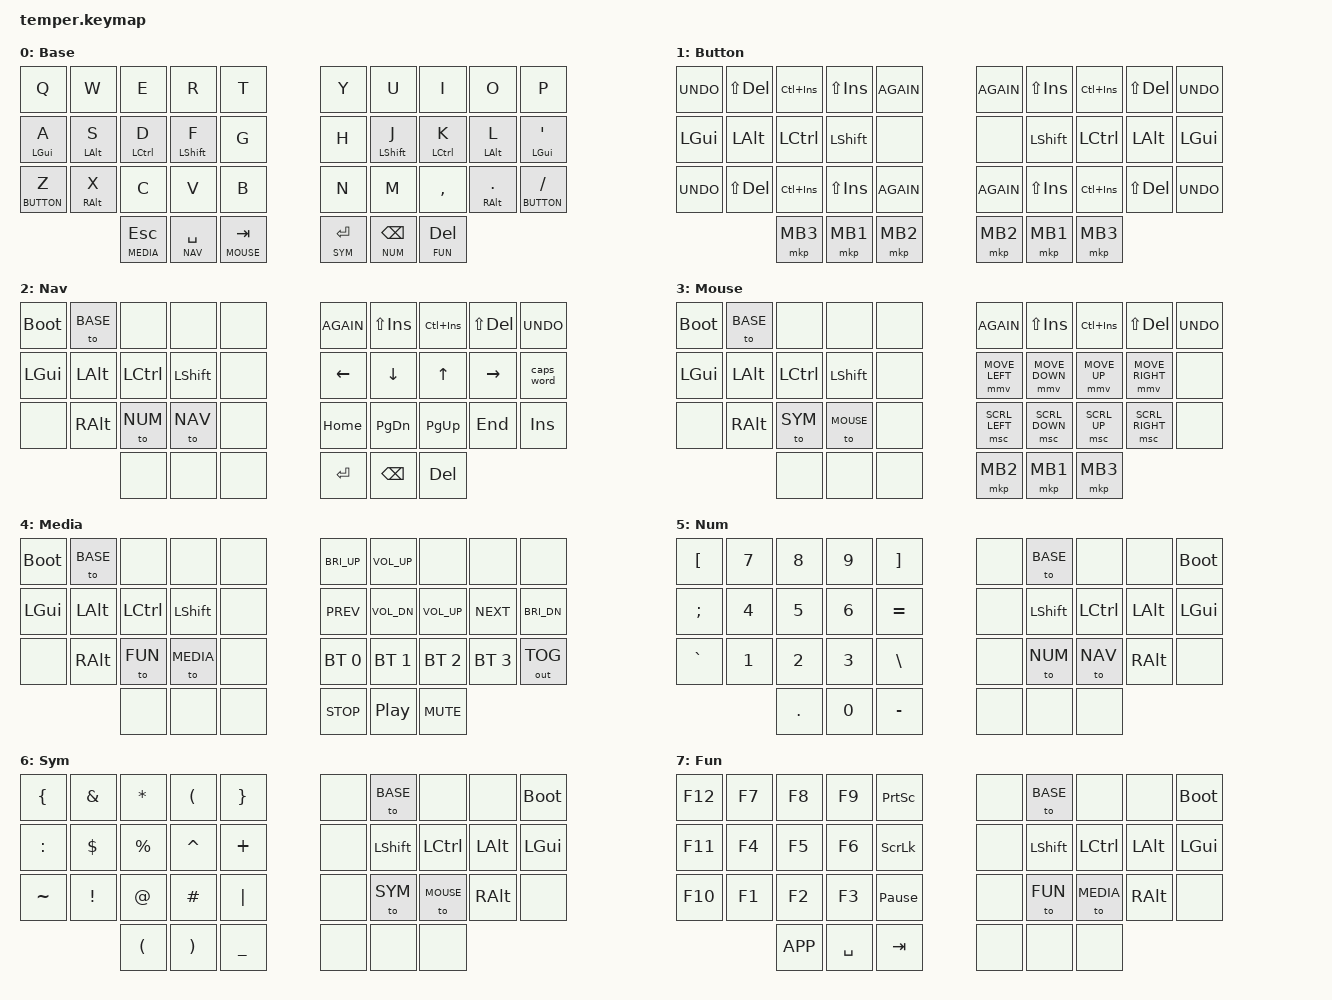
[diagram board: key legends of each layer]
/*
 * Copyright (c) 2020 The ZMK Contributors
 *
 * SPDX-License-Identifier: MIT
 */

#include <behaviors.dtsi>
#include <dt-bindings/zmk/keys.h>
#include <dt-bindings/zmk/bt.h>
#include <dt-bindings/zmk/outputs.h>
#include <dt-bindings/zmk/mouse.h>

// Miryoku layer definitions
#define BASE     0
#define BUTTON   1
#define NAV      2
#define MOUSE    3
#define MEDIA    4
#define NUM      5
#define SYM      6
#define FUN      7

// Miryoku key positions for hold-tap triggers
#define HML_TRIGGER_POSITIONS 5 6 7 8 9 15 16 17 18 19 25 26 27 28 29 30 31 32 33 34 35
#define HMR_TRIGGER_POSITIONS 0 1 2 3 4 10 11 12 13 14 20 21 22 23 24 30 31 32 33 34 35

// Miryoku clipboard (Linux defaults)
#define U_RDO &kp K_AGAIN
#define U_PST &kp LS(INS)
#define U_CPY &kp LC(INS)
#define U_CUT &kp LS(DEL)
#define U_UND &kp K_UNDO

// Miryoku mousekeys
#define U_BTN1 &mkp MB1
#define U_BTN2 &mkp MB2
#define U_BTN3 &mkp MB3
#define U_MS_D &mmv MOVE_DOWN
#define U_MS_L &mmv MOVE_LEFT
#define U_MS_R &mmv MOVE_RIGHT
#define U_MS_U &mmv MOVE_UP
#define U_WH_D &msc SCRL_DOWN
#define U_WH_L &msc SCRL_LEFT
#define U_WH_R &msc SCRL_RIGHT
#define U_WH_U &msc SCRL_UP

// Miryoku helper macros
#define U_NP &none
#define U_NA &none
#define U_NU &none
#define U_BOOT &bootloader

/ {
    behaviors {
        u_mt: miryoku_mod_tap {
            compatible = "zmk,behavior-hold-tap";
            #binding-cells = <2>;
            tapping-term-ms = <200>;
            flavor = "tap-preferred";
            require-prior-idle-ms = <150>;
            bindings = <&kp>, <&kp>;
        };
        u_lt: miryoku_layer_tap {
            compatible = "zmk,behavior-hold-tap";
            #binding-cells = <2>;
            tapping-term-ms = <200>;
            flavor = "tap-preferred";
            require-prior-idle-ms = <150>;
            bindings = <&mo>, <&kp>;
        };
        hml: home_row_left {
            compatible = "zmk,behavior-hold-tap";
            #binding-cells = <2>;
            flavor = "balanced";
            tapping-term-ms = <280>;
            quick-tap-ms = <175>;
            require-prior-idle-ms = <150>;
            hold-trigger-key-positions = <HML_TRIGGER_POSITIONS>;
            hold-trigger-on-release;
            bindings = <&kp>, <&kp>;
        };
        hmr: home_row_right {
            compatible = "zmk,behavior-hold-tap";
            #binding-cells = <2>;
            flavor = "balanced";
            tapping-term-ms = <280>;
            quick-tap-ms = <175>;
            require-prior-idle-ms = <150>;
            hold-trigger-key-positions = <HMR_TRIGGER_POSITIONS>;
            hold-trigger-on-release;
            bindings = <&kp>, <&kp>;
        };
    };

    macros {
    };

    keymap {
        compatible = "zmk,keymap";

        base_layer {
            display-name = "Base";
            bindings = <
// ╭─────────────┬─────────────┬─────────────┬─────────────┬─────────────╮   ╭─────────────┬─────────────┬─────────────┬─────────────┬─────────────╮
         &kp Q         &kp W         &kp E         &kp R         &kp T             &kp Y         &kp U         &kp I         &kp O         &kp P   
// ├─────────────┼─────────────┼─────────────┼─────────────┼─────────────┤   ├─────────────┼─────────────┼─────────────┼─────────────┼─────────────┤
    &hml LGUI A   &hml LALT S   &hml LCTRL D  &hml LSHFT F      &kp G             &kp H     &hmr LSHFT J  &hmr LCTRL K  &hmr LALT L   &hmr LGUI SQT
// ├─────────────┼─────────────┼─────────────┼─────────────┼─────────────┤   ├─────────────┼─────────────┼─────────────┼─────────────┼─────────────┤
    &u_lt BUTTON Z &u_mt RALT X     &kp C         &kp V         &kp B             &kp N         &kp M       &kp COMMA  &u_mt RALT DOT &u_lt BUTTON SLASH
// ╰─────────────┴─────────────┼─────────────┼─────────────┼─────────────┤   ├─────────────┼─────────────┼─────────────┼─────────────┴─────────────╯
                                &u_lt MEDIA ESC &u_lt NAV SPACE &u_lt MOUSE TAB    &u_lt SYM RET &u_lt NUM BSPC &u_lt FUN DEL
//                             ╰─────────────┴─────────────┴─────────────╯   ╰─────────────┴─────────────┴─────────────╯
            >;
        };


        button_layer {
            display-name = "Button";
            bindings = <
// ╭─────────────┬─────────────┬─────────────┬─────────────┬─────────────╮   ╭─────────────┬─────────────┬─────────────┬─────────────┬─────────────╮
        U_UND         U_CUT         U_CPY         U_PST         U_RDO             U_RDO         U_PST         U_CPY         U_CUT         U_UND   
// ├─────────────┼─────────────┼─────────────┼─────────────┼─────────────┤   ├─────────────┼─────────────┼─────────────┼─────────────┼─────────────┤
      &kp LGUI      &kp LALT      &kp LCTRL     &kp LSHFT       U_NU              U_NU        &kp LSHFT     &kp LCTRL     &kp LALT      &kp LGUI
// ├─────────────┼─────────────┼─────────────┼─────────────┼─────────────┤   ├─────────────┼─────────────┼─────────────┼─────────────┼─────────────┤
        U_UND         U_CUT         U_CPY         U_PST         U_RDO             U_RDO         U_PST         U_CPY         U_CUT         U_UND
// ╰─────────────┴─────────────┼─────────────┼─────────────┼─────────────┤   ├─────────────┼─────────────┼─────────────┼─────────────┴─────────────╯
                                   U_BTN3        U_BTN1        U_BTN2            U_BTN2        U_BTN1        U_BTN3
//                             ╰─────────────┴─────────────┴─────────────╯   ╰─────────────┴─────────────┴─────────────╯
            >;
        };

        nav_layer {
            display-name = "Nav";
            bindings = <
// ╭─────────────┬─────────────┬─────────────┬─────────────┬─────────────╮   ╭─────────────┬─────────────┬─────────────┬─────────────┬─────────────╮
       U_BOOT         &to BASE         U_NA          U_NA          U_NA             U_RDO         U_PST         U_CPY         U_CUT         U_UND   
// ├─────────────┼─────────────┼─────────────┼─────────────┼─────────────┤   ├─────────────┼─────────────┼─────────────┼─────────────┼─────────────┤
      &kp LGUI      &kp LALT      &kp LCTRL     &kp LSHFT       U_NA            &kp LEFT      &kp DOWN       &kp UP      &kp RIGHT    &caps_word
// ├─────────────┼─────────────┼─────────────┼─────────────┼─────────────┤   ├─────────────┼─────────────┼─────────────┼─────────────┼─────────────┤
        U_NA        &kp RALT         &to NUM        &to NAV        U_NA            &kp HOME      &kp PG_DN     &kp PG_UP     &kp END       &kp INS
// ╰─────────────┴─────────────┼─────────────┼─────────────┼─────────────┤   ├─────────────┼─────────────┼─────────────┼─────────────┴─────────────╯
                                    U_NA          U_NA          U_NA             &kp RET       &kp BSPC      &kp DEL
//                             ╰─────────────┴─────────────┴─────────────╯   ╰─────────────┴─────────────┴─────────────╯
            >;
        };

        mouse_layer {
            display-name = "Mouse";
            bindings = <
// ╭─────────────┬─────────────┬─────────────┬─────────────┬─────────────╮   ╭─────────────┬─────────────┬─────────────┬─────────────┬─────────────╮
       U_BOOT         &to BASE         U_NA          U_NA          U_NA             U_RDO         U_PST         U_CPY         U_CUT         U_UND   
// ├─────────────┼─────────────┼─────────────┼─────────────┼─────────────┤   ├─────────────┼─────────────┼─────────────┼─────────────┼─────────────┤
      &kp LGUI      &kp LALT      &kp LCTRL     &kp LSHFT       U_NA             U_MS_L        U_MS_D        U_MS_U        U_MS_R        U_NU
// ├─────────────┼─────────────┼─────────────┼─────────────┼─────────────┤   ├─────────────┼─────────────┼─────────────┼─────────────┼─────────────┤
        U_NA        &kp RALT         &to SYM       &to MOUSE       U_NA             U_WH_L        U_WH_D        U_WH_U        U_WH_R        U_NU
// ╰─────────────┴─────────────┼─────────────┼─────────────┼─────────────┤   ├─────────────┼─────────────┼─────────────┼─────────────┴─────────────╯
                                    U_NA          U_NA          U_NA             U_BTN2        U_BTN1        U_BTN3
//                             ╰─────────────┴─────────────┴─────────────╯   ╰─────────────┴─────────────┴─────────────╯
            >;
        };

        media_layer {
            display-name = "Media";
            bindings = <
// ╭─────────────┬─────────────┬─────────────┬─────────────┬─────────────╮   ╭─────────────┬─────────────┬─────────────┬─────────────┬─────────────╮
       U_BOOT         &to BASE         U_NA          U_NA          U_NA            &kp C_BRI_UP   &kp C_VOL_UP     U_NA          U_NA          U_NA   
// ├─────────────┼─────────────┼─────────────┼─────────────┼─────────────┤   ├─────────────┼─────────────┼─────────────┼─────────────┼─────────────┤
      &kp LGUI      &kp LALT      &kp LCTRL     &kp LSHFT       U_NA           &kp C_PREV    &kp C_VOL_DN   &kp C_VOL_UP  &kp C_NEXT    &kp C_BRI_DN
// ├─────────────┼─────────────┼─────────────┼─────────────┼─────────────┤   ├─────────────┼─────────────┼─────────────┼─────────────┼─────────────┤
        U_NA        &kp RALT         &to FUN       &to MEDIA       U_NA           &bt BT_SEL 0  &bt BT_SEL 1  &bt BT_SEL 2  &bt BT_SEL 3  &out OUT_TOG
// ╰─────────────┴─────────────┼─────────────┼─────────────┼─────────────┤   ├─────────────┼─────────────┼─────────────┼─────────────┴─────────────╯
                                    U_NA          U_NA          U_NA           &kp C_STOP    &kp C_PP      &kp C_MUTE
//                             ╰─────────────┴─────────────┴─────────────╯   ╰─────────────┴─────────────┴─────────────╯
            >;
        };

        num_layer {
            display-name = "Num";
            bindings = <
// ╭─────────────┬─────────────┬─────────────┬─────────────┬─────────────╮   ╭─────────────┬─────────────┬─────────────┬─────────────┬─────────────╮
       &kp LBKT       &kp N7        &kp N8        &kp N9       &kp RBKT          U_NA         &to BASE         U_NA          U_NA         U_BOOT   
// ├─────────────┼─────────────┼─────────────┼─────────────┼─────────────┤   ├─────────────┼─────────────┼─────────────┼─────────────┼─────────────┤
       &kp SEMI       &kp N4        &kp N5        &kp N6      &kp EQUAL          U_NA        &kp LSHFT     &kp LCTRL     &kp LALT      &kp LGUI
// ├─────────────┼─────────────┼─────────────┼─────────────┼─────────────┤   ├─────────────┼─────────────┼─────────────┼─────────────┼─────────────┤
      &kp GRAVE       &kp N1        &kp N2        &kp N3       &kp BSLH          U_NA         &to NUM        &to NAV       &kp RALT      U_NA
// ╰─────────────┴─────────────┼─────────────┼─────────────┼─────────────┤   ├─────────────┼─────────────┼─────────────┼─────────────┴─────────────╯
                                   &kp DOT       &kp N0       &kp MINUS          U_NA          U_NA          U_NA
//                             ╰─────────────┴─────────────┴─────────────╯   ╰─────────────┴─────────────┴─────────────╯
            >;
        };

        sym_layer {
            display-name = "Sym";
            bindings = <
// ╭─────────────┬─────────────┬─────────────┬─────────────┬─────────────╮   ╭─────────────┬─────────────┬─────────────┬─────────────┬─────────────╮
       &kp LBRC      &kp AMPS      &kp ASTRK     &kp LPAR      &kp RBRC          U_NA         &to BASE         U_NA          U_NA         U_BOOT   
// ├─────────────┼─────────────┼─────────────┼─────────────┼─────────────┤   ├─────────────┼─────────────┼─────────────┼─────────────┼─────────────┤
       &kp COLON     &kp DLLR      &kp PRCNT     &kp CARET     &kp PLUS          U_NA        &kp LSHFT     &kp LCTRL     &kp LALT      &kp LGUI
// ├─────────────┼─────────────┼─────────────┼─────────────┼─────────────┤   ├─────────────┼─────────────┼─────────────┼─────────────┼─────────────┤
       &kp TILDE     &kp EXCL       &kp AT       &kp HASH      &kp PIPE          U_NA         &to SYM       &to MOUSE     &kp RALT      U_NA
// ╰─────────────┴─────────────┼─────────────┼─────────────┼─────────────┤   ├─────────────┼─────────────┼─────────────┼─────────────┴─────────────╯
                                   &kp LPAR     &kp RPAR     &kp UNDER          U_NA          U_NA          U_NA
//                             ╰─────────────┴─────────────┴─────────────╯   ╰─────────────┴─────────────┴─────────────╯
            >;
        };

        fun_layer {
            display-name = "Fun";
            bindings = <
// ╭─────────────┬─────────────┬─────────────┬─────────────┬─────────────╮   ╭─────────────┬─────────────┬─────────────┬─────────────┬─────────────╮
       &kp F12        &kp F7        &kp F8        &kp F9       &kp PSCRN         U_NA         &to BASE         U_NA          U_NA         U_BOOT   
// ├─────────────┼─────────────┼─────────────┼─────────────┼─────────────┤   ├─────────────┼─────────────┼─────────────┼─────────────┼─────────────┤
       &kp F11        &kp F4        &kp F5        &kp F6       &kp SLCK          U_NA        &kp LSHFT     &kp LCTRL     &kp LALT      &kp LGUI
// ├─────────────┼─────────────┼─────────────┼─────────────┼─────────────┤   ├─────────────┼─────────────┼─────────────┼─────────────┼─────────────┤
       &kp F10        &kp F1        &kp F2        &kp F3    &kp PAUSE_BREAK       U_NA         &to FUN       &to MEDIA     &kp RALT      U_NA
// ╰─────────────┴─────────────┼─────────────┼─────────────┼─────────────┤   ├─────────────┼─────────────┼─────────────┼─────────────┴─────────────╯
                                   &kp K_APP     &kp SPACE     &kp TAB            U_NA          U_NA          U_NA
//                             ╰─────────────┴─────────────┴─────────────╯   ╰─────────────┴─────────────┴─────────────╯
            >;
        };
    };
};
